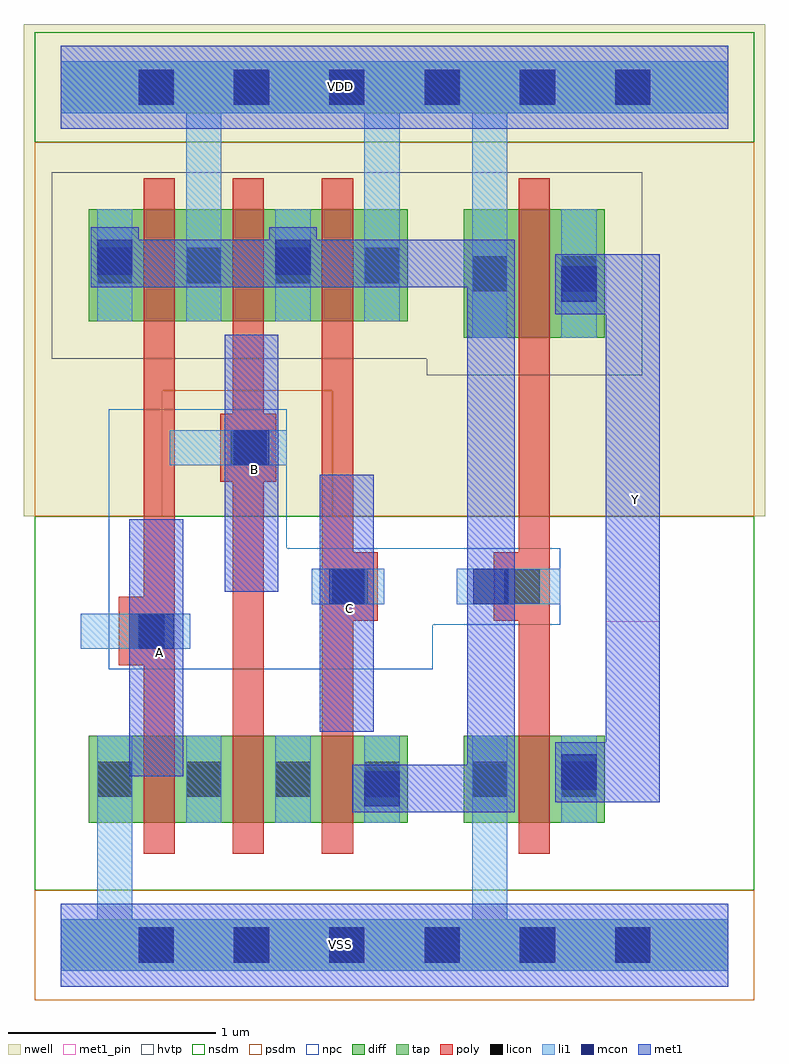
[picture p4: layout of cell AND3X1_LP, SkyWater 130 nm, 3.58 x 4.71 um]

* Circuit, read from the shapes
.subckt AND3X1_LP A B C VDD VSS Y
XM1 n1 A VSS VSS sky130_fd_pr__nfet_01v8 w=0.42 l=0.15
XM2 n2 B n1 VSS sky130_fd_pr__nfet_01v8 w=0.42 l=0.15
XM3 n3 C n2 VSS sky130_fd_pr__nfet_01v8 w=0.42 l=0.15
XM4 Y n3 VSS VSS sky130_fd_pr__nfet_01v8 w=0.42 l=0.15
XM5 VDD A n3 VDD sky130_fd_pr__pfet_01v8_hvt w=0.54 l=0.15
XM6 n3 B VDD VDD sky130_fd_pr__pfet_01v8_hvt w=0.54 l=0.15
XM7 VDD C n3 VDD sky130_fd_pr__pfet_01v8_hvt w=0.54 l=0.15
XM8 Y n3 VDD VDD sky130_fd_pr__pfet_01v8_hvt w=0.62 l=0.15
.ends

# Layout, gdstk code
from math import pi, radians
import gdstk
lib = gdstk.Library(unit=1e-6, precision=1e-09)
def R(c, l, rs):  # rectangles x0, y0, x1, y1
    for r in rs: c.add(gdstk.rectangle(r[:2], r[2:], *l))
def A(c, l, x, y, w, h, nx, ny, dx, dy):  # array of equal rectangles
    R(c, l, [(x+i*dx, y+j*dy, x+i*dx+w, y+j*dy+h) for i in range(nx) for j in range(ny)])
def P(c, l, *ps):  # polygons
    for p in ps: c.add(gdstk.Polygon(p, *l))
nwell = (64, 20)
diff = (65, 20)
tap = (65, 44)
poly = (66, 20)
licon = (66, 44)
li1 = (67, 20)
mcon = (67, 44)
met1_pin = (68, 16)
met1 = (68, 20)
hvtp = (78, 44)
nsdm = (93, 44)
psdm = (94, 20)
npc = (95, 20)

l1m1_c_cdns_750721840971 = lib.new_cell('L1M1_C_CDNS_750721840971')
R(l1m1_c_cdns_750721840971, li1, [(-0.085,-0.165,0.085,0.165)])
R(l1m1_c_cdns_750721840971, mcon, [(-0.085,-0.085,0.085,0.085)])
R(l1m1_c_cdns_750721840971, met1, [(-0.115,-0.145,0.115,0.145)])

pyl1con_c_cdns_750721840 = lib.new_cell('PYL1CON_C_CDNS_750721840972')
R(pyl1con_c_cdns_750721840, poly, [(-0.135,-0.165,0.135,0.165)])
R(pyl1con_c_cdns_750721840, licon, [(-0.085,-0.085,0.085,0.085)])
R(pyl1con_c_cdns_750721840, npc, [(-0.185,-0.185,0.185,0.185)])

l1m1_c_cdns_750721840973 = lib.new_cell('L1M1_C_CDNS_750721840973')
R(l1m1_c_cdns_750721840973, li1, [(-0.165,-0.085,0.165,0.085)])
R(l1m1_c_cdns_750721840973, mcon, [(-0.085,-0.085,0.085,0.085)])
R(l1m1_c_cdns_750721840973, met1, [(-0.115,-0.145,0.115,0.145)])

and3x1_lp = lib.new_cell('AND3X1_LP')
A(and3x1_lp, nwell, -0.045, 2.83, 1.04, 0.9, 3, 1, 0.43, 0)
R(and3x1_lp, nwell, [(-0.18,2.07,3.4,4.305), (1.765,2.75,2.805,3.73), (-0.18,3.875,3.4,4.445)])
A(and3x1_lp, diff, 0.4, 0.59, 0.15, 0.42, 3, 1, 0.43, 0)
A(and3x1_lp, diff, 0.4, 3.01, 0.15, 0.54, 3, 1, 0.43, 0)
R(and3x1_lp, diff, [(0.135,0.59,0.4,1.01), (0.55,0.59,0.815,1.01), (0.565,0.59,0.83,1.01), (0.98,0.59,1.245,1.01), (0.995,0.59,1.26,1.01), (1.41,0.59,1.675,1.01), (1.945,0.59,2.21,1.01), (2.21,0.59,2.36,1.01), (2.36,0.59,2.625,1.01), (1.945,2.93,2.21,3.55), (2.21,2.93,2.36,3.55), (2.36,2.93,2.625,3.55), (0.135,3.01,0.4,3.55), (0.55,3.01,0.815,3.55), (0.565,3.01,0.83,3.55), (0.98,3.01,1.245,3.55), (0.995,3.01,1.26,3.55), (1.41,3.01,1.675,3.55)])
A(and3x1_lp, poly, 0.4, 0.44, 0.15, 0.055, 3, 2, 0.43, 0.665)
A(and3x1_lp, poly, 0.4, 0.495, 0.15, 0.095, 3, 2, 0.43, 0.515)
A(and3x1_lp, poly, 0.4, 0.59, 0.15, 0.42, 3, 1, 0.43, 0)
A(and3x1_lp, poly, 0.4, 2.86, 0.15, 0.055, 3, 2, 0.43, 0.785)
A(and3x1_lp, poly, 0.4, 2.915, 0.15, 0.095, 3, 2, 0.43, 0.635)
A(and3x1_lp, poly, 0.4, 3.01, 0.15, 0.54, 3, 1, 0.43, 0)
R(and3x1_lp, poly, [(2.21,0.44,2.36,0.495), (2.21,0.495,2.36,0.59), (2.21,0.59,2.36,1.01), (2.21,1.01,2.36,1.105), (2.21,1.105,2.36,1.16), (2.21,2.78,2.36,2.835), (2.21,2.835,2.36,2.93), (2.21,2.93,2.36,3.55), (2.21,3.55,2.36,3.645), (2.21,3.645,2.36,3.7)])
A(and3x1_lp, licon, 0.375, -0.085, 0.17, 0.17, 6, 2, 0.46, 4.14)
R(and3x1_lp, licon, [(0.175,0.715,0.345,0.885), (0.605,0.715,0.775,0.885), (0.605,0.715,0.775,0.885), (1.035,0.715,1.205,0.885), (1.035,0.715,1.205,0.885), (1.465,0.715,1.635,0.885), (1.985,0.715,2.155,0.885), (2.415,0.715,2.585,0.885), (1.985,3.155,2.155,3.325), (2.415,3.155,2.585,3.325), (0.175,3.195,0.345,3.365), (0.605,3.195,0.775,3.365), (0.605,3.195,0.775,3.365), (1.035,3.195,1.205,3.365), (1.035,3.195,1.205,3.365), (1.465,3.195,1.635,3.365)])
R(and3x1_lp, li1, [(0.175,-0.125,0.345,0.715), (1.985,-0.085,2.155,0.885), (0.175,0.59,0.345,1.01), (0.605,0.59,0.775,1.01), (0.605,0.59,0.775,1.01), (1.035,0.59,1.205,1.01), (1.035,0.59,1.205,1.01), (1.465,0.59,1.635,1.01), (1.985,0.59,2.155,1.01), (2.415,0.59,2.585,1.01), (1.985,2.93,2.155,3.55), (2.415,2.93,2.585,3.55), (0.175,3.01,0.345,3.55), (0.605,3.01,0.775,3.55), (0.605,3.01,0.775,3.55), (1.035,3.01,1.205,3.55), (1.035,3.01,1.205,3.55), (1.465,3.01,1.635,3.55)])
A(and3x1_lp, mcon, 0.375, -0.085, 0.17, 0.17, 6, 2, 0.46, 4.14)
R(and3x1_lp, met1_pin, [(0.33,0.815,0.59,2.055), (1.25,1.03,1.51,2.27), (2.63,1.56,2.89,3.335), (0.79,1.705,1.05,2.945)])
A(and3x1_lp, hvtp, -0.045, 2.83, 1.04, 0.9, 3, 1, 0.43, 0)
R(and3x1_lp, hvtp, [(1.765,2.75,2.805,3.73)])
A(and3x1_lp, nsdm, -0.005, 0.46, 0.96, 0.68, 3, 1, 0.43, 0)
R(and3x1_lp, nsdm, [(-0.125,0.265,3.345,2.07), (1.805,0.46,2.765,1.14), (-0.125,3.875,3.345,4.405), (-0.125,3.93,3.345,4.35)])
A(and3x1_lp, psdm, -0.005, 2.88, 0.96, 0.8, 3, 1, 0.43, 0)
R(and3x1_lp, psdm, [(-0.125,-0.265,3.345,0.265), (-0.125,-0.21,3.345,0.21), (1.805,2.8,2.765,3.68)])
P(and3x1_lp, psdm, [(3.345,3.875),(-0.125,3.875),(-0.125,2.07),(0.49,2.07),(0.49,2.675),(1.31,2.675),(1.31,2.07),(3.345,2.07)])
P(and3x1_lp, npc, [(2.41,1.915),(1.09,1.915),(1.09,2.585),(0.23,2.585),(0.23,1.33),(1.795,1.33),(1.795,1.545),(2.41,1.545)])
and3x1_lp.add(gdstk.FlexPath([(0.475,2.86),(0.475,1.04)], 0.15, ends="flush", simple_path=True, layer=66, datatype=20))  # poly
and3x1_lp.add(gdstk.FlexPath([(2.285,2.78),(2.285,1.16)], 0.15, ends="flush", simple_path=True, layer=66, datatype=20))  # poly
and3x1_lp.add(gdstk.FlexPath([(1.335,2.86),(1.335,1.015)], 0.15, ends="flush", simple_path=True, layer=66, datatype=20))  # poly
and3x1_lp.add(gdstk.FlexPath([(0.905,2.86),(0.905,0.905)], 0.15, ends="flush", simple_path=True, layer=66, datatype=20))  # poly
and3x1_lp.add(gdstk.FlexPath([(2.07,3.55),(2.07,4.14)], 0.17, ends=(0, 0.125), simple_path=True, layer=67, datatype=20))  # li1
and3x1_lp.add(gdstk.FlexPath([(1.55,3.55),(1.55,4.14)], 0.17, ends=(0, 0.125), simple_path=True, layer=67, datatype=20))  # li1
and3x1_lp.add(gdstk.FlexPath([(0.69,3.55),(0.69,4.14)], 0.17, ends=(0, 0.125), simple_path=True, layer=67, datatype=20))  # li1
and3x1_lp.add(gdstk.FlexPath([(0,0),(3.22,0)], 0.25, ends="flush", simple_path=True, layer=67, datatype=20))  # li1
and3x1_lp.add(gdstk.FlexPath([(0,4.14),(3.22,4.14)], 0.25, ends="flush", simple_path=True, layer=67, datatype=20))  # li1
and3x1_lp.add(gdstk.FlexPath([(1.56,1.73),(1.21,1.73)], 0.17, ends="flush", simple_path=True, layer=67, datatype=20))  # li1
and3x1_lp.add(gdstk.FlexPath([(1.09,2.4),(0.525,2.4)], 0.17, ends="flush", simple_path=True, layer=67, datatype=20))  # li1
and3x1_lp.add(gdstk.FlexPath([(0.095,1.515),(0.6,1.515)], 0.17, ends="flush", simple_path=True, layer=67, datatype=20))  # li1
and3x1_lp.add(gdstk.FlexPath([(2.075,1.73),(2.41,1.73)], 0.17, ends="flush", simple_path=True, layer=67, datatype=20))  # li1
and3x1_lp.add(gdstk.FlexPath([(0,4.14),(3.22,4.14)], 0.4, ends="flush", simple_path=True, layer=68, datatype=20))  # met1
and3x1_lp.add(gdstk.FlexPath([(2.615,0.865),(2.615,0.835)], 0.29, ends=(0, 0.145), simple_path=True, layer=68, datatype=20))  # met1
and3x1_lp.add(gdstk.FlexPath([(0.92,1.705),(0.92,2.945)], 0.26, ends="flush", simple_path=True, layer=68, datatype=20))  # met1
and3x1_lp.add(gdstk.FlexPath([(0.145,3.29),(2.075,3.29)], 0.23, ends=(0, 0.115), simple_path=True, layer=68, datatype=20))  # met1
and3x1_lp.add(gdstk.FlexPath([(2.5,3.19),(2.615,3.19)], 0.29, ends=(0, 0.145), simple_path=True, layer=68, datatype=20))  # met1
and3x1_lp.add(gdstk.FlexPath([(2.76,0.82),(2.76,3.205)], 0.26, ends="extended", simple_path=True, layer=68, datatype=20))  # met1
and3x1_lp.add(gdstk.FlexPath([(1.38,1.03),(1.38,2.27)], 0.26, ends="flush", simple_path=True, layer=68, datatype=20))  # met1
and3x1_lp.add(gdstk.FlexPath([(2.615,3.19),(2.615,3.23)], 0.29, ends=(0.145, 0), simple_path=True, layer=68, datatype=20))  # met1
and3x1_lp.add(gdstk.FlexPath([(2.075,0.85),(2.075,3.06)], 0.23, ends="extended", simple_path=True, layer=68, datatype=20))  # met1
and3x1_lp.add(gdstk.FlexPath([(2.075,3.29),(2.19,3.29)], 0.23, ends=(0.115, 0), simple_path=True, layer=68, datatype=20))  # met1
and3x1_lp.add(gdstk.FlexPath([(1.485,0.755),(2.075,0.755)], 0.23, ends=(0, 0.115), simple_path=True, layer=68, datatype=20))  # met1
and3x1_lp.add(gdstk.FlexPath([(2.615,0.835),(2.5,0.835)], 0.29, ends=(0.145, 0), simple_path=True, layer=68, datatype=20))  # met1
and3x1_lp.add(gdstk.FlexPath([(0.46,0.815),(0.46,2.055)], 0.26, ends="flush", simple_path=True, layer=68, datatype=20))  # met1
and3x1_lp.add(gdstk.FlexPath([(0,0),(3.22,0)], 0.4, ends="flush", simple_path=True, layer=68, datatype=20))  # met1
and3x1_lp.add(gdstk.FlexPath([(0,0),(3.22,0)], 0.4, ends="flush", simple_path=True, layer=68, datatype=16))  # met1_pin
and3x1_lp.add(gdstk.FlexPath([(0,4.14),(3.22,4.14)], 0.4, ends="flush", simple_path=True, layer=68, datatype=16))  # met1_pin
and3x1_lp.add(gdstk.FlexPath([(0,0),(3.22,0)], 0.25, ends="flush", simple_path=True, layer=65, datatype=44))  # tap
and3x1_lp.add(gdstk.FlexPath([(0,4.14),(3.22,4.14)], 0.25, ends="flush", simple_path=True, layer=65, datatype=44))  # tap
and3x1_lp.add(gdstk.Reference(l1m1_c_cdns_750721840971, (2.5,0.835)))
and3x1_lp.add(gdstk.Reference(l1m1_c_cdns_750721840971, (2.5,3.19)))
and3x1_lp.add(gdstk.Reference(l1m1_c_cdns_750721840971, (0.26,3.32)))
and3x1_lp.add(gdstk.Reference(l1m1_c_cdns_750721840971, (1.12,3.32)))
and3x1_lp.add(gdstk.Reference(pyl1con_c_cdns_750721840, (0.905,2.4)))
and3x1_lp.add(gdstk.Reference(pyl1con_c_cdns_750721840, (1.395,1.73)))
and3x1_lp.add(gdstk.Reference(pyl1con_c_cdns_750721840, (0.415,1.515)))
and3x1_lp.add(gdstk.Reference(pyl1con_c_cdns_750721840, (2.225,1.73)))
and3x1_lp.add(gdstk.Reference(l1m1_c_cdns_750721840973, (0.46,1.515), x_reflection=True))
and3x1_lp.add(gdstk.Reference(l1m1_c_cdns_750721840973, (1.38,1.73), x_reflection=True))
and3x1_lp.add(gdstk.Reference(l1m1_c_cdns_750721840973, (0.92,2.4), x_reflection=True))
and3x1_lp.add(gdstk.Reference(l1m1_c_cdns_750721840973, (2.075,1.73)))
and3x1_lp.add(gdstk.Reference(l1m1_c_cdns_750721840973, (1.55,0.755), rotation=3*pi/2))
and3x1_lp.add(gdstk.Label('VDD', (1.351,4.145), layer=68, texttype=5))
and3x1_lp.add(gdstk.Label('B', (0.935,2.295), layer=68, texttype=5))
and3x1_lp.add(gdstk.Label('C', (1.395,1.625), layer=68, texttype=5))
and3x1_lp.add(gdstk.Label('A', (0.475,1.41), layer=68, texttype=5))
and3x1_lp.add(gdstk.Label('Y', (2.775,2.15), layer=68, texttype=5))
and3x1_lp.add(gdstk.Label('VSS', (1.35,0.005), layer=68, texttype=5))

lib.write_gds('AND3X1_LP.gds')
